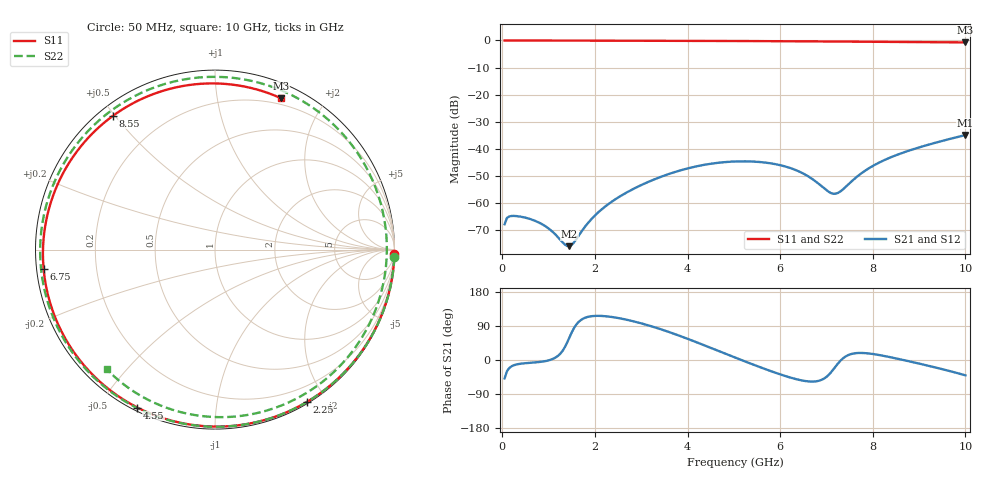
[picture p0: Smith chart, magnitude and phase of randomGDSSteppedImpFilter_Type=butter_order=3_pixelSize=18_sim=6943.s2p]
! freq	dB(S11)	phase(S11)	dB(S12)	phase(S12)
!  dB(S21)	phase(S21)	dB(S22)	phase(S22)
!S-par simulation data
#  GHz  S  DB  R 50
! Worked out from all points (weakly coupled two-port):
!   200 points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, 50 MHz to 10 GHz, reference 50 ohm
!   highest |S21| = -34.90 dB at 10 GHz (marker M1); lowest = -75.9 dB at 1.45 GHz (marker M2)
!   lowest |S11| = -0.7 dB at 10 GHz (marker M3), VSWR 24.00, Z = 6.92 + j75.9 ohm
!   |S11| at or under -10 dB: nowhere
!   |S22| runs from -0.9 to 0.0 dB; largest |S21 - S12| = 0
!   S11 on the Smith chart (normalised r, x): 50 MHz: 0, -85; 2.25 GHz: 0.02, -1.77; 4.55 GHz: 0.01, -0.62; 6.75 GHz: 0.02, -0.06; 8.55 GHz: 0.04, +0.50; 10 GHz: 0.14, +1.52
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0.05  -0.00 -1.3  -67.78 -48.4  -67.78 -48.4  -0.00 -2.5
0.15  -0.00 -4.0  -64.91 -21.2  -64.91 -21.2  -0.00 -7.5
0.6  -0.02 -16.1  -65.84 -7.4  -65.84 -7.4  -0.03 -29.9
1.45  -0.05 -38.4  -75.87 59.6  -75.87 59.6  -0.09 -71.1
1.75  -0.06 -46.2  -69.52 109.4  -69.52 109.4  -0.11 -85.4
2.25  -0.08 -59.0  -60.88 115.3  -60.88 115.3  -0.14 -109.0
2.85  -0.10 -74.1  -54.58 101.5  -54.58 101.5  -0.17 -137.3
3.4  -0.12 -87.8  -50.45 82.1  -50.45 82.1  -0.21 -163.7
4  -0.14 -102.6  -47.21 56.0  -47.21 56.0  -0.25 166.3
4.55  -0.17 -116.2  -45.36 29.6  -45.36 29.6  -0.28 137.3
5.05  -0.20 -128.6  -44.62 5.3  -44.62 5.3  -0.31 109.6
5.45  -0.23 -138.7  -44.70 -13.6  -44.70 -13.6  -0.33 86.6
5.8  -0.26 -147.8  -45.33 -29.4  -45.33 -29.4  -0.35 66.4
6.25  -0.30 -159.7  -47.24 -47.4  -47.24 -47.4  -0.36 40.5
6.7  -0.34 -172.3  -51.16 -56.9  -51.16 -56.9  -0.37 15.5
6.75  -0.35 -173.7  -51.78 -56.6  -51.78 -56.6  -0.37 12.8
7.2  -0.40 173.0  -56.51 -16.7  -56.51 -16.7  -0.39 -10.8
7.8  -0.47 153.9  -48.43 18.4  -48.43 18.4  -0.43 -39.7
8.35  -0.54 134.7  -43.37 8.1  -43.37 8.1  -0.49 -64.0
8.55  -0.56 127.2  -42.02 3.0  -42.02 3.0  -0.52 -72.5
9.3  -0.65 97.1  -37.97 -18.1  -37.97 -18.1  -0.68 -103.1
10  -0.72 66.4  -34.90 -40.4  -34.90 -40.4  -0.93 -132.2
